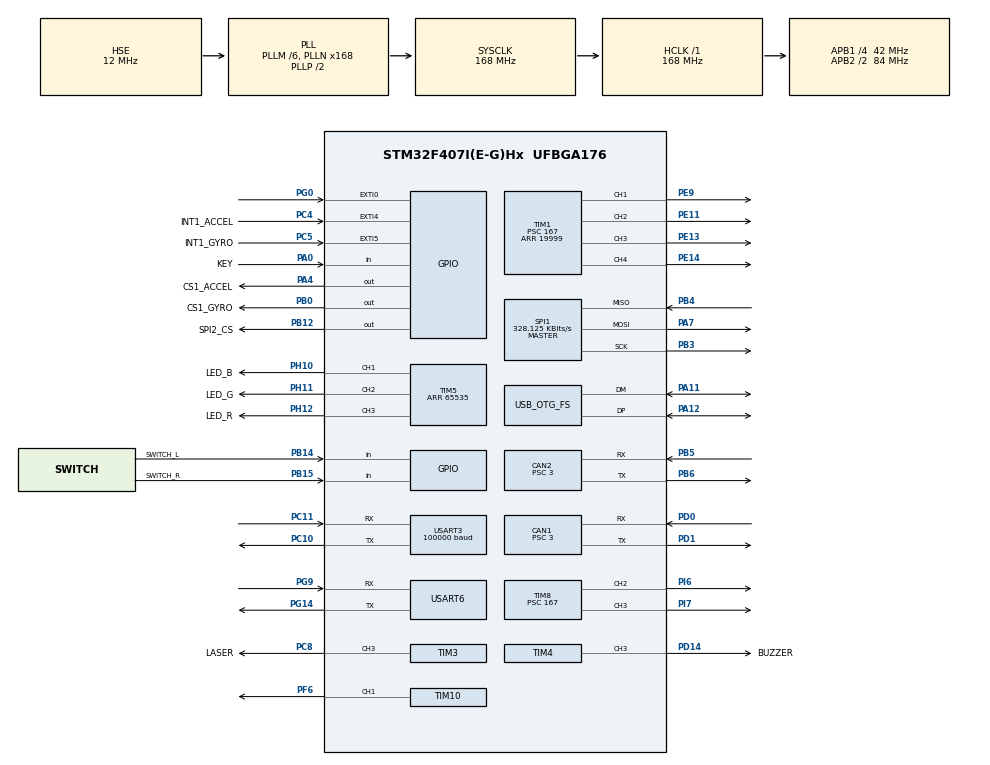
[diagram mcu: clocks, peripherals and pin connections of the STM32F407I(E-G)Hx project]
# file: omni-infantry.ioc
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ADC1.Channel-0\#ChannelRegularConversion=ADC_CHANNEL_TEMPSENSOR
ADC1.ClockPrescaler=ADC_CLOCK_SYNC_PCLK_DIV6
ADC1.NbrOfConversionFlag=1
ADC1.Rank-0\#ChannelRegularConversion=1
ADC1.SamplingTime-0\#ChannelRegularConversion=ADC_SAMPLETIME_3CYCLES
ADC1.master=1
CAN1.ABOM=ENABLE
CAN1.BS1=CAN_BS1_10TQ
CAN1.BS2=CAN_BS2_3TQ
CAN1.CalculateBaudRate=1000000
CAN1.CalculateTimeBit=1000
CAN1.CalculateTimeQuantum=71.42857142857143
CAN1.NART=ENABLE
CAN1.Prescaler=3
CAN1.RFLM=DISABLE
CAN2.ABOM=ENABLE
CAN2.BS1=CAN_BS1_10TQ
CAN2.BS2=CAN_BS2_3TQ
CAN2.CalculateBaudRate=1000000
CAN2.CalculateTimeBit=1000
CAN2.CalculateTimeQuantum=71.42857142857143
CAN2.NART=ENABLE
CAN2.Prescaler=3
Dma.Request0=SPI1_RX
Dma.Request1=SPI1_TX
Dma.Request2=USART3_RX
Dma.Request3=USART6_RX
Dma.Request4=USART6_TX
Dma.SPI1_RX.0.Direction=DMA_PERIPH_TO_MEMORY
Dma.SPI1_RX.0.FIFOMode=DMA_FIFOMODE_DISABLE
Dma.SPI1_RX.0.Instance=DMA2_Stream2
Dma.SPI1_RX.0.MemDataAlignment=DMA_MDATAALIGN_BYTE
Dma.SPI1_RX.0.MemInc=DMA_MINC_ENABLE
Dma.SPI1_RX.0.Mode=DMA_NORMAL
Dma.SPI1_RX.0.PeriphDataAlignment=DMA_PDATAALIGN_BYTE
Dma.SPI1_RX.0.PeriphInc=DMA_PINC_DISABLE
Dma.SPI1_RX.0.Priority=DMA_PRIORITY_VERY_HIGH
Dma.SPI1_TX.1.Direction=DMA_MEMORY_TO_PERIPH
Dma.SPI1_TX.1.FIFOMode=DMA_FIFOMODE_DISABLE
Dma.SPI1_TX.1.Instance=DMA2_Stream3
Dma.SPI1_TX.1.MemDataAlignment=DMA_MDATAALIGN_BYTE
Dma.SPI1_TX.1.MemInc=DMA_MINC_ENABLE
Dma.SPI1_TX.1.Mode=DMA_NORMAL
Dma.SPI1_TX.1.PeriphDataAlignment=DMA_PDATAALIGN_BYTE
Dma.SPI1_TX.1.PeriphInc=DMA_PINC_DISABLE
Dma.SPI1_TX.1.Priority=DMA_PRIORITY_HIGH
Dma.USART3_RX.2.Direction=DMA_PERIPH_TO_MEMORY
Dma.USART3_RX.2.FIFOMode=DMA_FIFOMODE_DISABLE
Dma.USART3_RX.2.Instance=DMA1_Stream1
Dma.USART3_RX.2.MemDataAlignment=DMA_MDATAALIGN_BYTE
Dma.USART3_RX.2.MemInc=DMA_MINC_ENABLE
Dma.USART3_RX.2.Mode=DMA_NORMAL
Dma.USART3_RX.2.PeriphDataAlignment=DMA_PDATAALIGN_BYTE
Dma.USART3_RX.2.PeriphInc=DMA_PINC_DISABLE
Dma.USART3_RX.2.Priority=DMA_PRIORITY_HIGH
Dma.USART6_RX.3.Direction=DMA_PERIPH_TO_MEMORY
Dma.USART6_RX.3.FIFOMode=DMA_FIFOMODE_ENABLE
Dma.USART6_RX.3.FIFOThreshold=DMA_FIFO_THRESHOLD_FULL
Dma.USART6_RX.3.Instance=DMA2_Stream1
Dma.USART6_RX.3.MemBurst=DMA_MBURST_SINGLE
Dma.USART6_RX.3.MemDataAlignment=DMA_MDATAALIGN_BYTE
Dma.USART6_RX.3.MemInc=DMA_MINC_ENABLE
Dma.USART6_RX.3.Mode=DMA_NORMAL
Dma.USART6_RX.3.PeriphBurst=DMA_PBURST_SINGLE
Dma.USART6_RX.3.PeriphDataAlignment=DMA_PDATAALIGN_BYTE
Dma.USART6_RX.3.PeriphInc=DMA_PINC_DISABLE
Dma.USART6_RX.3.Priority=DMA_PRIORITY_HIGH
Dma.USART6_TX.4.Direction=DMA_MEMORY_TO_PERIPH
Dma.USART6_TX.4.FIFOMode=DMA_FIFOMODE_DISABLE
Dma.USART6_TX.4.Instance=DMA2_Stream6
Dma.USART6_TX.4.MemDataAlignment=DMA_MDATAALIGN_BYTE
Dma.USART6_TX.4.MemInc=DMA_MINC_ENABLE
Dma.USART6_TX.4.Mode=DMA_NORMAL
Dma.USART6_TX.4.PeriphDataAlignment=DMA_PDATAALIGN_BYTE
Dma.USART6_TX.4.PeriphInc=DMA_PINC_DISABLE
Dma.USART6_TX.4.Priority=DMA_PRIORITY_MEDIUM
FREERTOS.INCLUDE_eTaskGetState=1
FREERTOS.INCLUDE_pcTaskGetTaskName=1
FREERTOS.INCLUDE_uxTaskGetStackHighWaterMark=0
FREERTOS.INCLUDE_vTaskCleanUpResources=1
FREERTOS.INCLUDE_vTaskDelayUntil=1
FREERTOS.INCLUDE_xEventGroupSetBitFromISR=0
FREERTOS.INCLUDE_xQueueGetMutexHolder=1
FREERTOS.INCLUDE_xSemaphoreGetMutexHolder=1
FREERTOS.INCLUDE_xTaskAbortDelay=1
FREERTOS.INCLUDE_xTaskGetCurrentTaskHandle=1
FREERTOS.INCLUDE_xTaskGetHandle=1
FREERTOS.Tasks01=defaultTask,0,128,StartDefaultTask,Default,NULL,Dynamic,NULL,NULL;CalibrateTask,0,512,calibrate_task,As weak,NULL,Dynamic,NULL,NULL;ChassisTask,-2,512,chassis_task,As weak,NULL,Dynamic,NULL,NULL;gimbalTask,2,512,gimbal_task,As weak,NULL,Dynamic,NULL,NULL;imuTask,-3,512,INS_task,As weak,NULL,Dynamic,NULL,NULL;detectTask,-3,128,detect_task,As weak,NULL,Dynamic,NULL,NULL
FREERTOS.configCHECK_FOR_STACK_OVERFLOW=0
FREERTOS.configTOTAL_HEAP_SIZE=24576
FREERTOS.configUSE_NEWLIB_REENTRANT=0
Mcu.Family=STM32F4
Mcu.Name=STM32F407I(E-G)Hx
Mcu.Package=UFBGA176
NVIC.CAN1_RX0_IRQn=true\:5\:0\:false\:false\:true\:true\:true\:true\:true
NVIC.CAN2_RX0_IRQn=true\:5\:0\:false\:false\:true\:true\:true\:true\:true
NVIC.DMA1_Stream1_IRQn=true\:5\:0\:false\:false\:true\:true\:false\:true\:true
NVIC.DMA2_Stream1_IRQn=true\:5\:0\:false\:false\:true\:true\:false\:true\:true
NVIC.DMA2_Stream2_IRQn=true\:5\:0\:false\:false\:false\:true\:false\:true\:true
NVIC.DMA2_Stream3_IRQn=true\:5\:0\:false\:false\:true\:true\:false\:true\:true
NVIC.DMA2_Stream6_IRQn=true\:5\:0\:false\:false\:true\:true\:false\:true\:true
NVIC.EXTI0_IRQn=true\:5\:0\:false\:false\:true\:true\:true\:true\:true
NVIC.EXTI4_IRQn=true\:5\:0\:false\:false\:true\:true\:true\:true\:true
NVIC.EXTI9_5_IRQn=true\:5\:0\:false\:false\:true\:true\:true\:true\:true
NVIC.OTG_FS_IRQn=true\:5\:0\:false\:false\:true\:true\:false\:true\:true
NVIC.PriorityGroup=NVIC_PRIORITYGROUP_4
NVIC.USART3_IRQn=true\:5\:0\:false\:false\:false\:true\:true\:true\:true
NVIC.USART6_IRQn=true\:5\:0\:false\:false\:false\:true\:true\:true\:true
PA0-WKUP.GPIO_Label=KEY
PA0-WKUP.GPIO_PuPd=GPIO_PULLUP
PA0-WKUP.Signal=GPIO_Input
PA11.Mode=Device_Only
PA11.Signal=USB_OTG_FS_DM
PA12.Mode=Device_Only
PA12.Signal=USB_OTG_FS_DP
PA13.Mode=Serial_Wire
PA13.Signal=SYS_JTMS-SWDIO
PA14.Mode=Serial_Wire
PA14.Signal=SYS_JTCK-SWCLK
PA4.GPIO_Label=CS1_ACCEL
PA4.GPIO_PuPd=GPIO_PULLUP
PA4.GPIO_Speed=GPIO_SPEED_FREQ_HIGH
PA4.PinState=GPIO_PIN_SET
PA4.Signal=GPIO_Output
PA7.GPIO_PuPd=GPIO_PULLUP
PA7.Mode=Full_Duplex_Master
PA7.Signal=SPI1_MOSI
PB0.GPIO_Label=CS1_GYRO
PB0.GPIO_PuPd=GPIO_PULLUP
PB0.GPIO_Speed=GPIO_SPEED_FREQ_HIGH
PB0.PinState=GPIO_PIN_SET
PB0.Signal=GPIO_Output
PB12.GPIO_Label=SPI2_CS
PB12.GPIO_PuPd=GPIO_PULLUP
PB12.GPIO_Speed=GPIO_SPEED_FREQ_MEDIUM
PB12.PinState=GPIO_PIN_SET
PB12.Signal=GPIO_Output
PB14.GPIO_Label=SWITCH_L
PB14.GPIO_PuPd=GPIO_PULLDOWN
PB14.Signal=GPIO_Input
PB15.GPIO_Label=SWITCH_R
PB15.GPIO_PuPd=GPIO_PULLDOWN
PB15.Signal=GPIO_Input
PB3.GPIO_PuPd=GPIO_PULLUP
PB3.Mode=Full_Duplex_Master
PB3.Signal=SPI1_SCK
PB4.GPIO_PuPd=GPIO_PULLUP
PB4.Mode=Full_Duplex_Master
PB4.Signal=SPI1_MISO
PB5.GPIO_PuPd=GPIO_PULLUP
PB5.Mode=CAN_Activate
PB5.Signal=CAN2_RX
PB6.GPIO_PuPd=GPIO_PULLUP
PB6.Mode=CAN_Activate
PB6.Signal=CAN2_TX
PC10.Mode=Asynchronous
PC10.Signal=USART3_TX
PC11.Mode=Asynchronous
PC11.Signal=USART3_RX
PC4.GPIO_Label=INT1_ACCEL
PC4.GPIO_ModeDefaultEXTI=GPIO_MODE_IT_FALLING
PC4.GPIO_PuPd=GPIO_PULLUP
PC4.Signal=GPXTI4
PC5.GPIO_Label=INT1_GYRO
PC5.GPIO_ModeDefaultEXTI=GPIO_MODE_IT_FALLING
PC5.GPIO_PuPd=GPIO_PULLUP
PC5.Signal=GPXTI5
PC8.GPIO_Label=LASER
PC8.GPIO_PuPd=GPIO_PULLUP
PC8.GPIO_Speed=GPIO_SPEED_FREQ_HIGH
PC8.Signal=S_TIM3_CH3
PD0.GPIO_PuPd=GPIO_PULLUP
PD0.Mode=CAN_Activate
PD0.Signal=CAN1_RX
PD1.GPIO_PuPd=GPIO_PULLUP
PD1.Mode=CAN_Activate
PD1.Signal=CAN1_TX
PD14.GPIO_Label=BUZZER
PD14.GPIO_PuPd=GPIO_PULLUP
PD14.GPIO_Speed=GPIO_SPEED_FREQ_VERY_HIGH
PD14.Signal=S_TIM4_CH3
PE11.Signal=S_TIM1_CH2
PE13.Signal=S_TIM1_CH3
PE14.Signal=S_TIM1_CH4
PE9.GPIO_PuPd=GPIO_PULLUP
PE9.GPIO_Speed=GPIO_SPEED_FREQ_HIGH
PE9.Signal=S_TIM1_CH1
PF6.GPIO_PuPd=GPIO_PULLUP
PF6.GPIO_Speed=GPIO_SPEED_FREQ_HIGH
PF6.Signal=S_TIM10_CH1
PG0.GPIO_ModeDefaultEXTI=GPIO_MODE_IT_FALLING
PG0.GPIO_PuPd=GPIO_PULLUP
PG0.Signal=GPXTI0
PG14.Mode=Asynchronous
PG14.Signal=USART6_TX
PG9.Mode=Asynchronous
PG9.Signal=USART6_RX
PH0-OSC_IN.Mode=HSE-External-Oscillator
PH0-OSC_IN.Signal=RCC_OSC_IN
PH1-OSC_OUT.Mode=HSE-External-Oscillator
PH1-OSC_OUT.Signal=RCC_OSC_OUT
PH10.GPIO_Label=LED_B
PH10.GPIO_PuPd=GPIO_PULLUP
PH10.GPIO_Speed=GPIO_SPEED_FREQ_HIGH
PH10.Signal=S_TIM5_CH1
PH11.GPIO_Label=LED_G
PH11.GPIO_PuPd=GPIO_PULLUP
PH11.GPIO_Speed=GPIO_SPEED_FREQ_HIGH
PH11.Signal=S_TIM5_CH2
PH12.GPIO_Label=LED_R
PH12.GPIO_PuPd=GPIO_PULLUP
PH12.GPIO_Speed=GPIO_SPEED_FREQ_HIGH
PH12.Signal=S_TIM5_CH3
PI6.GPIO_PuPd=GPIO_PULLUP
PI6.GPIO_Speed=GPIO_SPEED_FREQ_VERY_HIGH
PI6.Signal=S_TIM8_CH2
PI7.GPIO_PuPd=GPIO_PULLUP
PI7.GPIO_Speed=GPIO_SPEED_FREQ_VERY_HIGH
PI7.Signal=S_TIM8_CH3
ProjectManager.HeapSize=0x2000
ProjectManager.StackSize=0x2000
ProjectManager.TargetToolchain=STM32CubeIDE
RCC.48MHZClocksFreq_Value=48000000
RCC.AHBFreq_Value=168000000
RCC.APB1CLKDivider=RCC_HCLK_DIV4
RCC.APB1Freq_Value=42000000
RCC.APB1TimFreq_Value=84000000
RCC.APB2CLKDivider=RCC_HCLK_DIV2
RCC.APB2Freq_Value=84000000
RCC.APB2TimCLKDivider=2
RCC.APB2TimFreq_Value=168000000
RCC.CortexFreq_Value=168000000
RCC.HCLKFreq_Value=168000000
RCC.HSE_VALUE=12000000
RCC.HSI_VALUE=16000000
RCC.LSE_VALUE=32768
RCC.PLLM=6
RCC.PLLN=168
RCC.PLLQ=7
RCC.RCC_RTC_Clock_SourceVirtual=RCC_RTCCLKSOURCE_HSE_DIV30
RCC.RCC_RTC_Clock_Source_FROM_HSE=RCC_RTCCLKSOURCE_HSE_DIV30
RCC.SYSCLKFreq_VALUE=168000000
RCC.SYSCLKSource=RCC_SYSCLKSOURCE_PLLCLK
RCC.VCOOutputFreq_Value=336000000
SH.S_TIM10_CH1.0=TIM10_CH1,PWM Generation1 CH1
SH.S_TIM1_CH1.0=TIM1_CH1,PWM Generation1 CH1
SH.S_TIM1_CH2.0=TIM1_CH2,PWM Generation2 CH2
SH.S_TIM1_CH3.0=TIM1_CH3,PWM Generation3 CH3
SH.S_TIM1_CH4.0=TIM1_CH4,PWM Generation4 CH4
SH.S_TIM3_CH3.0=TIM3_CH3,PWM Generation3 CH3
SH.S_TIM4_CH3.0=TIM4_CH3,PWM Generation3 CH3
SH.S_TIM5_CH1.0=TIM5_CH1,PWM Generation1 CH1
SH.S_TIM5_CH2.0=TIM5_CH2,PWM Generation2 CH2
SH.S_TIM5_CH3.0=TIM5_CH3,PWM Generation3 CH3
SH.S_TIM8_CH2.0=TIM8_CH2,PWM Generation2 CH2
SH.S_TIM8_CH3.0=TIM8_CH3,PWM Generation3 CH3
SPI1.BaudRatePrescaler=SPI_BAUDRATEPRESCALER_256
SPI1.CLKPhase=SPI_PHASE_2EDGE
SPI1.CLKPolarity=SPI_POLARITY_HIGH
SPI1.CalculateBaudRate=328.125 KBits/s
SPI1.Direction=SPI_DIRECTION_2LINES
SPI1.Mode=SPI_MODE_MASTER
SPI1.VirtualType=VM_MASTER
TIM1.Channel-PWM\ Generation1\ CH1=TIM_CHANNEL_1
TIM1.Channel-PWM\ Generation2\ CH2=TIM_CHANNEL_2
TIM1.Channel-PWM\ Generation3\ CH3=TIM_CHANNEL_3
TIM1.Channel-PWM\ Generation4\ CH4=TIM_CHANNEL_4
TIM1.Period=19999
TIM1.Prescaler=167
TIM1.Pulse-PWM\ Generation1\ CH1=1000
TIM10.Channel=TIM_CHANNEL_1
TIM10.Period=4999
TIM3.Channel-PWM\ Generation3\ CH3=TIM_CHANNEL_3
TIM3.Period=8399
TIM4.Channel-PWM\ Generation3\ CH3=TIM_CHANNEL_3
TIM4.Prescaler=167
TIM5.Channel-PWM\ Generation1\ CH1=TIM_CHANNEL_1
TIM5.Channel-PWM\ Generation2\ CH2=TIM_CHANNEL_2
TIM5.Channel-PWM\ Generation3\ CH3=TIM_CHANNEL_3
TIM5.Period=65535
TIM8.AutoReloadPreload=TIM_AUTORELOAD_PRELOAD_ENABLE
TIM8.Channel-PWM\ Generation2\ CH2=TIM_CHANNEL_2
TIM8.Channel-PWM\ Generation3\ CH3=TIM_CHANNEL_3
TIM8.Period=3996
TIM8.Prescaler=167
TIM8.Pulse-PWM\ Generation2\ CH2=1500
TIM8.Pulse-PWM\ Generation3\ CH3=1500
USART3.BaudRate=100000
USART3.Mode=MODE_RX
USART3.Parity=PARITY_EVEN
USART3.VirtualMode=VM_ASYNC
USART6.VirtualMode=VM_ASYNC
USB_DEVICE.CLASS_NAME_FS=CDC
USB_DEVICE.VirtualMode-CDC_FS=Cdc
USB_DEVICE.VirtualModeFS=Cdc_FS
USB_OTG_FS.VirtualMode=Device_Only
VP_ADC1_TempSens_Input.Mode=IN-TempSens
VP_ADC1_Vref_Input.Mode=IN-Vrefint
VP_CRC_VS_CRC.Mode=CRC_Activate
VP_FREERTOS_VS_CMSIS_V1.Mode=CMSIS_V1
VP_RNG_VS_RNG.Mode=RNG_Activate
VP_TIM10_VS_ClockSourceINT.Mode=Enable_Timer
VP_TIM4_VS_ClockSourceINT.Mode=Internal
VP_TIM5_VS_ClockSourceINT.Mode=Internal
VP_USB_DEVICE_VS_USB_DEVICE_CDC_FS.Mode=CDC_FS
board=custom

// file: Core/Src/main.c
/* USER CODE BEGIN Header */
/**
  ******************************************************************************
  * @file           : main.c
  * @brief          : Main program body
  ******************************************************************************
  * @attention
  *
  * Copyright (c) 2022 STMicroelectronics.
  * All rights reserved.
  *
  * This software is licensed under terms that can be found in the LICENSE file
  * in the root directory of this software component.
  * If no LICENSE file comes with this software, it is provided AS-IS.
  *
  ******************************************************************************
  */
/* USER CODE END Header */
#include "main.h"
#include "cmsis_os.h"
#include "adc.h"
#include "can.h"
#include "crc.h"
#include "dma.h"
#include "rng.h"
#include "spi.h"
#include "tim.h"
#include "usart.h"
#include "usb_device.h"
#include "gpio.h"
#include "bsp_led.h"

/* USER CODE BEGIN Includes */
#include "bsp_can.h"
#include "bsp_delay.h"
#include "bsp_usart.h"
#include "remote.h"
#include "Referee.h"

#include "Calibrate.h"
/* USER CODE END Includes */

/* USER CODE BEGIN PTD */
extern uint8_t usart1_receive_buf[200];
/* USER CODE END PTD */

void SystemClock_Config(void);
void MX_FREERTOS_Init(void);

int main(void)
{

  /* MCU Configuration--------------------------------------------------------*/

  /* Reset of all peripherals, Initializes the Flash interface and the Systick. */
  HAL_Init();

  /* Configure the system clock */
  SystemClock_Config();

  /* Initialize all configured peripherals */
  MX_GPIO_Init();
  MX_DMA_Init();
  MX_CAN1_Init();
  MX_CAN2_Init();
  MX_SPI1_Init();
  MX_TIM4_Init();
  MX_TIM5_Init();
  MX_USART3_UART_Init();
  MX_USART6_UART_Init();
  MX_TIM3_Init();
  MX_TIM10_Init();
  MX_ADC1_Init();
  MX_CRC_Init();
  MX_RNG_Init();
  MX_TIM1_Init();
  MX_TIM8_Init();
  led_init();
  /* USER CODE BEGIN 2 */
    can_filter_init();
    delay_init();
    HAL_TIM_PWM_Start(&htim8,TIM_CHANNEL_3);
    HAL_TIM_PWM_Start(&htim8,TIM_CHANNEL_2);
    HAL_TIM_Base_Start(&htim1);
    HAL_TIM_PWM_Start(&htim1,TIM_CHANNEL_3);
    HAL_TIM_PWM_Start(&htim1,TIM_CHANNEL_4);
    usart6_init(&usart6_buf[0], REFEREE_BUFFER_SIZE);

    cali_param_init();
    remote_control_init();
  /* USER CODE END 2 */

  /* Call init function for freertos objects (in freertos.c) */
  MX_FREERTOS_Init();

  /* Start scheduler */
  osKernelStart();
  /* We should never get here as control is now taken by the scheduler */
  /* Infinite loop */
  while (1)
  {

  }
}

void SystemClock_Config(void)
{
  RCC_OscInitTypeDef RCC_OscInitStruct = {0};
  RCC_ClkInitTypeDef RCC_ClkInitStruct = {0};

  /** Configure the main internal regulator output voltage
  */
  __HAL_RCC_PWR_CLK_ENABLE();
  __HAL_PWR_VOLTAGESCALING_CONFIG(PWR_REGULATOR_VOLTAGE_SCALE1);

  /** Initializes the RCC Oscillators according to the specified parameters
  * in the RCC_OscInitTypeDef structure.
  */
  RCC_OscInitStruct.OscillatorType = RCC_OSCILLATORTYPE_HSE;
  RCC_OscInitStruct.HSEState = RCC_HSE_ON;
  RCC_OscInitStruct.PLL.PLLState = RCC_PLL_ON;
  RCC_OscInitStruct.PLL.PLLSource = RCC_PLLSOURCE_HSE;
  RCC_OscInitStruct.PLL.PLLM = 6;
  RCC_OscInitStruct.PLL.PLLN = 168;
  RCC_OscInitStruct.PLL.PLLP = RCC_PLLP_DIV2;
  RCC_OscInitStruct.PLL.PLLQ = 7;
  if (HAL_RCC_OscConfig(&RCC_OscInitStruct) != HAL_OK)
  {
    Error_Handler();
  }

  /** Initializes the CPU, AHB and APB buses clocks
  */
  RCC_ClkInitStruct.ClockType = RCC_CLOCKTYPE_HCLK|RCC_CLOCKTYPE_SYSCLK
                              |RCC_CLOCKTYPE_PCLK1|RCC_CLOCKTYPE_PCLK2;
  RCC_ClkInitStruct.SYSCLKSource = RCC_SYSCLKSOURCE_PLLCLK;
  RCC_ClkInitStruct.AHBCLKDivider = RCC_SYSCLK_DIV1;
  RCC_ClkInitStruct.APB1CLKDivider = RCC_HCLK_DIV4;
  RCC_ClkInitStruct.APB2CLKDivider = RCC_HCLK_DIV2;

  if (HAL_RCC_ClockConfig(&RCC_ClkInitStruct, FLASH_LATENCY_5) != HAL_OK)
  {
    Error_Handler();
  }
}

void Error_Handler(void)
{
  __disable_irq();
  while (1)
  {
  }
}

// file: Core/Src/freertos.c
/* USER CODE BEGIN Header */
/**
  ******************************************************************************
  * File Name          : freertos.c
  * Description        : Code for freertos applications
  ******************************************************************************
  * @attention
  *
  * Copyright (c) 2022 STMicroelectronics.
  * All rights reserved.
  *
  * This software is licensed under terms that can be found in the LICENSE file
  * in the root directory of this software component.
  * If no LICENSE file comes with this software, it is provided AS-IS.
  *
  ******************************************************************************
  */
/* USER CODE END Header */

#include "FreeRTOS.h"
#include "task.h"
#include "main.h"
#include "cmsis_os.h"
#include "Cap.h"
#include "bsp_led.h"

osThreadId defaultTaskHandle;
osThreadId CalibrateTaskHandle;
osThreadId ChassisTaskHandle;
osThreadId gimbalTaskHandle;
osThreadId imuTaskHandle;
osThreadId detectTaskHandle;
osThreadId cap_task_handle;
osThreadId UI_task_handle;
osThreadId led_task_handle;
/* USER CODE BEGIN FunctionPrototypes */
osThreadId usb_task_handle;
osThreadId decode_task_handle;
/* USER CODE END FunctionPrototypes */

void StartDefaultTask(void const * argument);
void calibrate_task(void const * argument);
void chassis_task(void const * argument);
void gimbal_task(void const * argument);
void INS_task(void const * argument);
void detect_task(void const * argument);
void UI_paint_task(void const*argument);
extern void MX_USB_DEVICE_Init(void);
void MX_FREERTOS_Init(void); /* (MISRA C 2004 rule 8.1) */

/* GetIdleTaskMemory prototype (linked to static allocation support) */
void vApplicationGetIdleTaskMemory( StaticTask_t **ppxIdleTaskTCBBuffer, StackType_t **ppxIdleTaskStackBuffer, uint32_t *pulIdleTaskStackSize );

/* USER CODE BEGIN GET_IDLE_TASK_MEMORY */
static StaticTask_t xIdleTaskTCBBuffer;
static StackType_t xIdleStack[configMINIMAL_STACK_SIZE];

void vApplicationGetIdleTaskMemory( StaticTask_t **ppxIdleTaskTCBBuffer, StackType_t **ppxIdleTaskStackBuffer, uint32_t *pulIdleTaskStackSize )
{
  *ppxIdleTaskTCBBuffer = &xIdleTaskTCBBuffer;
  *ppxIdleTaskStackBuffer = &xIdleStack[0];
  *pulIdleTaskStackSize = configMINIMAL_STACK_SIZE;
  /* place for user code */
}
QueueHandle_t CDC_send_queue;

_Noreturn extern void usb_task(void const * argument);
extern void decode_task(void const * arg);
/* USER CODE END GET_IDLE_TASK_MEMORY */

void MX_FREERTOS_Init(void) {

  /* Create the thread(s) */
  /* definition and creation of defaultTask */
  osThreadDef(defaultTask, StartDefaultTask, osPriorityNormal, 0, 128);
  defaultTaskHandle = osThreadCreate(osThread(defaultTask), NULL);

  /* definition and creation of CalibrateTask */
  osThreadDef(CalibrateTask, calibrate_task, osPriorityNormal, 0, 512);
  CalibrateTaskHandle = osThreadCreate(osThread(CalibrateTask), NULL);

  /* definition and creation of ChassisTask */
  osThreadDef(ChassisTask, chassis_task, osPriorityLow, 0, 512);
  ChassisTaskHandle = osThreadCreate(osThread(ChassisTask), NULL);

  /* definition and creation of gimbalTask */
  osThreadDef(gimbalTask, gimbal_task, osPriorityHigh, 0, 512);
  gimbalTaskHandle = osThreadCreate(osThread(gimbalTask), NULL);

  /* definition and creation of imuTask */
  osThreadDef(imuTask, INS_task, osPriorityIdle, 0, 512);
  imuTaskHandle = osThreadCreate(osThread(imuTask), NULL);

  /* definition and creation of detectTask */
  osThreadDef(detectTask, detect_task, osPriorityIdle, 0, 128);
  detectTaskHandle = osThreadCreate(osThread(detectTask), NULL);

  osThreadDef(CapTask,cap_task,osPriorityAboveNormal,0,256);
  cap_task_handle=osThreadCreate(osThread(CapTask),NULL);

  osThreadDef(UIPaintTask, UI_paint_task,osPriorityNormal,0,256);
  UI_task_handle= osThreadCreate(osThread(UIPaintTask),NULL);
  /* USER CODE BEGIN RTOS_THREADS */
  /* add threads, ... */
    osThreadDef(USBtask,usb_task,osPriorityHigh,0,128);
    usb_task_handle= osThreadCreate(osThread(USBtask),NULL);
    osThreadDef(DecodeTask, decode_task, osPriorityHigh, 0, 128);
    decode_task_handle = osThreadCreate(osThread(DecodeTask), NULL);
    CDC_send_queue = xQueueCreate(1, 128);
  /* USER CODE END RTOS_THREADS */

}

void StartDefaultTask(void const * argument)
{
  /* init code for USB_DEVICE */
  MX_USB_DEVICE_Init();
  for(;;)
  {
    osDelay(1);
  }
}

__weak void calibrate_task(void const * argument)
{
  for(;;)
  {
    osDelay(1);
  }
}

__weak void chassis_task(void const * argument)
{
  for(;;)
  {
    osDelay(1);
  }
}

__weak void gimbal_task(void const * argument)
{
  for(;;)
  {
    osDelay(1);
  }
}

__weak void INS_task(void const * argument)
{
  for(;;)
  {
    osDelay(1);
  }
}

__weak void detect_task(void const * argument)
{
  for(;;)
  {
    osDelay(1);
  }
}
